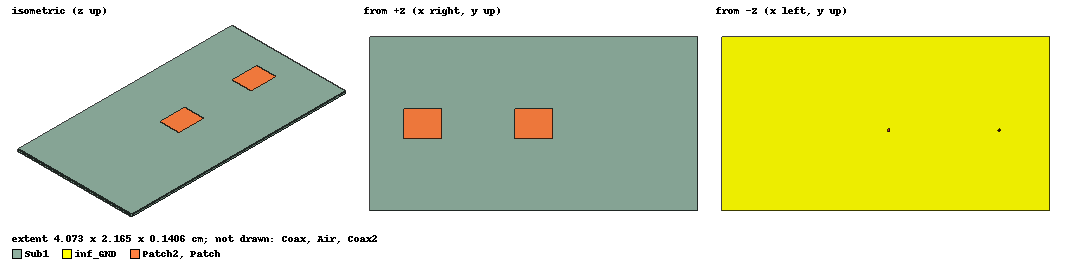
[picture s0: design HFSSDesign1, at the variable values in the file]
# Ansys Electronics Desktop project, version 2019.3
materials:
  vacuum: permittivity=1
  Rogers RT/duroid 5880 (tm): permittivity=2.2 dielectric_loss_tangent=0.0009
  pec: conductivity=1e+30
  Rogers RO4003 (tm): permittivity=3.55 dielectric_loss_tangent=0.0027

design HFSSDesign1 (HFSS, DrivenTerminal, model units cm)
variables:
  Lp = 4.73mm
  Wp = 3.65mm
  hs = 0.406mm
  Ws = (18+3.65) mm
  Ls = (36+4.73) mm
  xsub = (-36/2) mm
  ysub = (-18/2) mm
  xfeed = 2mm
  dp = 9mm
  rcoax = 0.16mm
  hcoax = 1mm
  rprope = 0.07mm
  Lair = (70+40.73) mm
  Wair = (60+21.65) mm
  xair = (-110.73/2) mm
  yair = (-81.65/2) mm
  hair = 13.2mm
  yfeed = 1mm
  xp = 0mm
  yp = 0mm
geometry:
  Sub1 [Rogers RO4003 (tm)] = box(corner=(xsub, ysub, 0mm), size=(Ls, Ws, hs))
  inf_GND [Rogers RT/duroid 5880 (tm)] = rectangle(corner=(xsub, ysub, 0mm), x_size=Ls, y_size=Ws)
  Cut_Out = circle(normal=Z, centre=(xp+xfeed, yp+yfeed, 0mm), radius=rcoax)
  inf_GND.subtract(Cut_Out)
  Patch [Rogers RT/duroid 5880 (tm)] = rectangle(corner=(xp, yp, hs), x_size=Lp, y_size=Wp)
  Coax [vacuum] = cylinder(axis=Z, base_centre=(xp+xfeed, yp+yfeed, 0mm), radius=rcoax, height=-hcoax)
  Coax_Pin [pec] = cylinder(axis=Z, base_centre=(xp+xfeed, yp+yfeed, 0mm), radius=rprope, height=-hcoax)
  Port1 [pec] = circle(normal=Z, centre=(xp+xfeed, yp+yfeed, -hcoax), radius=rcoax)
  Prope [pec] = cylinder(axis=Z, base_centre=(xp+xfeed, yp+yfeed, 0mm), radius=rprope, height=hs)
  Air [vacuum] = box(corner=(xair, yair, 0mm), size=(Lair, Wair, hair))
  Cut_Out2 = circle(normal=Z, centre=(xp+xfeed-Lp-dp, yp+yfeed, 0mm), radius=rcoax)
  inf_GND.subtract(Cut_Out2)
  Patch2 = rectangle(corner=(xp-Lp-dp, yp, hs), x_size=Lp, y_size=Wp)
  Coax2 [vacuum] = cylinder(axis=Z, base_centre=(xp+xfeed-Lp-dp, yp+yfeed, 0mm), radius=rcoax, height=-hcoax)
  Coax_Pin2 [pec] = cylinder(axis=Z, base_centre=(xp+xfeed-Lp-dp, yp+yfeed, 0mm), radius=rprope, height=-hcoax)
  Port2 [pec] = circle(normal=Z, centre=(xp+xfeed-Lp-dp, yp+yfeed, -hcoax), radius=rcoax)
  Prope2 [pec] = cylinder(axis=Z, base_centre=(xp+xfeed-Lp -dp, yp+yfeed, 0mm), radius=rprope, height=hs)
  group Input_feed1 = Coax, Coax_Pin, Port1, Prope
  group Input_feed2 = Coax2, Coax_Pin2, Port2, Prope2
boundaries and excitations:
  PerfE_inf_GND: Perfect E Objects=inf_GND
  PerfE_Patch: Perfect E Objects=Patch
  Rad1: Radiation Faces=Air.face(+x, +y, -y, -x, +z)
  PerfE1: Perfect E Objects=Patch2
  Coax_Pin_T1: Terminal port=1 Faces=Coax_Pin.face(2 of 3) TerminalResistance=50ohm
  Coax_Pin2_T1: Terminal port=2 Faces=Coax_Pin2.face(2 of 3) TerminalResistance=50ohm
  1: Wave Port Faces=Port1.face NumModes=1
  2: Wave Port Faces=Port2.face NumModes=1
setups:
  Setup1: HfssDriven Frequency=20GHz MaxDeltaS=0.02 MaximumPasses=18 MinimumPasses=1 MinimumConvergedPasses=1 PercentRefinement=30 BasisOrder=1 PortAccuracy=2
    sweep Sweep: 10GHz to 30GHz step 0.1GHz; Type=Fast SaveFields
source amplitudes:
  1:1: 1V 0deg
  2:1: 0V 0deg
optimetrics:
  ParametricSetup1: Parametric Sim._Setups=[Setup1]
    sweep dp: LIN 4mm 14mm 0.125mm
    calculate dB(St(Coax_Pin2_T1,Coax_Pin_T1)) on Setup1 : Sweep at Freq 20GHz
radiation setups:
  Infinite Sphere1: Infinite Sphere Theta=-180deg..180deg step 2deg Phi=0deg..180deg step 5deg
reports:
  Terminal S Parameter Plot 1: dB(St(Coax_Pin_T1,Coax_Pin_T1)) vs Freq on Setup1 : Sweep; markers MX1 at x=2.0097403e+10
  Terminal Z Parameter Plot 1: mag(Zt(Coax_Pin_T1,Coax_Pin_T1)) vs Freq on Setup1 : Sweep; markers MX1 at x=2.0016313e+10
  Gain Plot 1: GainTotal vs Phi, Theta on Setup1 : LastAdaptive, Infinite Sphere1 [Freq=20GHz]
  Gain Plot 2: GainTotal vs Theta on Setup1 : LastAdaptive, Infinite Sphere1 [Phi=all Freq=20GHz]
  Terminal S Parameter Plot 2: dB(St(Coax_Pin2_T1,Coax_Pin_T1)) vs Freq on Setup1 : Sweep [hs=all xfeed=all dp=all yfeed=all]
